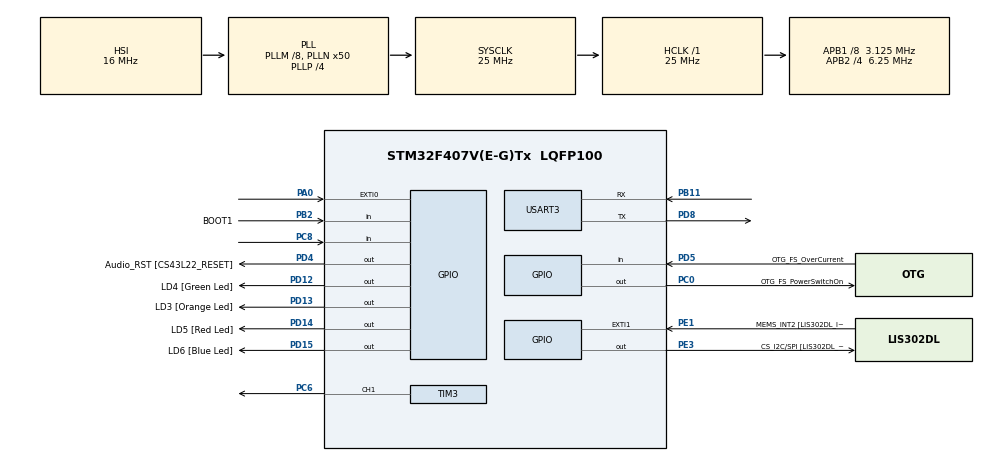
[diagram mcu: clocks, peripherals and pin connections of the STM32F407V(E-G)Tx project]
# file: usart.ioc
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Mcu.Family=STM32F4
Mcu.Name=STM32F407V(E-G)Tx
Mcu.Package=LQFP100
NVIC.EXTI0_IRQn=true\:0\:0\:false\:false\:true\:true
NVIC.PriorityGroup=NVIC_PRIORITYGROUP_0
NVIC.TIM3_IRQn=true\:0\:0\:false\:false\:true\:true
PA0-WKUP.Signal=GPXTI0
PA10.GPIO_Label=OTG_FS_ID
PA10.GPIO_Mode=GPIO_MODE_AF_PP
PA10.GPIO_PuPd=GPIO_NOPULL
PA10.GPIO_Speed=GPIO_SPEED_FREQ_LOW
PA10.Signal=USB_OTG_FS_ID
PA11.GPIO_Label=OTG_FS_DM
PA11.GPIO_Mode=GPIO_MODE_AF_PP
PA11.GPIO_PuPd=GPIO_NOPULL
PA11.GPIO_Speed=GPIO_SPEED_FREQ_LOW
PA11.Signal=USB_OTG_FS_DM
PA12.GPIO_Label=OTG_FS_DP
PA12.GPIO_Mode=GPIO_MODE_AF_PP
PA12.GPIO_PuPd=GPIO_NOPULL
PA12.GPIO_Speed=GPIO_SPEED_FREQ_LOW
PA12.Signal=USB_OTG_FS_DP
PA13.GPIO_Label=SWDIO
PA13.Signal=SYS_JTMS-SWDIO
PA14.GPIO_Label=SWCLK
PA14.Signal=SYS_JTCK-SWCLK
PA4.GPIO_Label=I2S3_WS [CS43L22_LRCK]
PA4.GPIO_Mode=GPIO_MODE_AF_PP
PA4.GPIO_PuPd=GPIO_NOPULL
PA4.GPIO_Speed=GPIO_SPEED_FREQ_LOW
PA4.Signal=I2S3_WS
PA5.GPIO_Label=SPI1_SCK [LIS302DL_SCL/SPC]
PA5.GPIO_Mode=GPIO_MODE_AF_PP
PA5.GPIO_PuPd=GPIO_NOPULL
PA5.GPIO_Speed=GPIO_SPEED_FREQ_LOW
PA5.Signal=SPI1_SCK
PA6.GPIO_Label=SPI1_MISO [LIS302DL_SDO]
PA6.GPIO_Mode=GPIO_MODE_AF_PP
PA6.GPIO_PuPd=GPIO_NOPULL
PA6.GPIO_Speed=GPIO_SPEED_FREQ_LOW
PA6.Signal=SPI1_MISO
PA7.GPIO_Label=SPI1_MOSI [LIS302DL_SDA/SDI/SDO]
PA7.GPIO_Mode=GPIO_MODE_AF_PP
PA7.GPIO_PuPd=GPIO_NOPULL
PA7.GPIO_Speed=GPIO_SPEED_FREQ_LOW
PA7.Signal=SPI1_MOSI
PA9.GPIO_Label=VBUS_FS
PA9.GPIO_Mode=GPIO_MODE_INPUT
PA9.GPIO_PuPd=GPIO_NOPULL
PA9.Signal=USB_OTG_FS_VBUS
PB10.GPIO_Label=CLK_IN [MP45DT02_CLK]
PB10.GPIO_Mode=GPIO_MODE_AF_PP
PB10.GPIO_PuPd=GPIO_NOPULL
PB10.GPIO_Speed=GPIO_SPEED_FREQ_LOW
PB10.Signal=I2S2_CK
PB11.Mode=Asynchronous
PB11.Signal=USART3_RX
PB2.GPIO_Label=BOOT1
PB2.GPIO_Mode=GPIO_MODE_INPUT
PB2.GPIO_PuPd=GPIO_NOPULL
PB2.Signal=GPIO_Input
PB3.GPIO_Label=SWO
PB3.Signal=SYS_JTDO-SWO
PB6.GPIO_Label=Audio_SCL [CS43L22_SCL]
PB6.GPIO_Mode=GPIO_MODE_AF_OD
PB6.GPIO_PuPd=GPIO_NOPULL
PB6.GPIO_Speed=GPIO_SPEED_FREQ_LOW
PB6.Signal=I2C1_SCL
PB9.GPIO_Label=Audio_SDA [CS43L22_SDA]
PB9.GPIO_Mode=GPIO_MODE_AF_OD
PB9.GPIO_PuPd=GPIO_NOPULL
PB9.GPIO_Speed=GPIO_SPEED_FREQ_LOW
PB9.Signal=I2C1_SDA
PC0.GPIO_Label=OTG_FS_PowerSwitchOn
PC0.GPIO_PuPd=GPIO_NOPULL
PC0.GPIO_Speed=GPIO_SPEED_FREQ_LOW
PC0.PinState=GPIO_PIN_SET
PC0.Signal=GPIO_Output
PC10.GPIO_Label=I2S3_SCK [CS43L22_SCLK]
PC10.GPIO_Mode=GPIO_MODE_AF_PP
PC10.GPIO_PuPd=GPIO_NOPULL
PC10.GPIO_Speed=GPIO_SPEED_FREQ_LOW
PC10.Signal=I2S3_CK
PC12.GPIO_Label=I2S3_SD [CS43L22_SDIN]
PC12.GPIO_Mode=GPIO_MODE_AF_PP
PC12.GPIO_PuPd=GPIO_NOPULL
PC12.GPIO_Speed=GPIO_SPEED_FREQ_LOW
PC12.Signal=I2S3_SD
PC14-OSC32_IN.GPIO_Label=PC14-OSC32_IN
PC14-OSC32_IN.Signal=RCC_OSC32_IN
PC15-OSC32_OUT.GPIO_Label=PC15-OSC32_OUT
PC15-OSC32_OUT.Signal=RCC_OSC32_OUT
PC3.GPIO_Label=PDM_OUT [MP45DT02_DOUT]
PC3.GPIO_Mode=GPIO_MODE_AF_PP
PC3.GPIO_PuPd=GPIO_NOPULL
PC3.GPIO_Speed=GPIO_SPEED_FREQ_LOW
PC3.Signal=I2S2_SD
PC6.Signal=S_TIM3_CH1
PC7.GPIO_Label=I2S3_MCK [CS43L22_MCLK]
PC7.GPIO_Mode=GPIO_MODE_AF_PP
PC7.GPIO_PuPd=GPIO_NOPULL
PC7.GPIO_Speed=GPIO_SPEED_FREQ_LOW
PC7.Signal=I2S3_MCK
PC8.Signal=GPIO_Input
PD12.GPIO_Label=LD4 [Green Led]
PD12.GPIO_PuPd=GPIO_NOPULL
PD12.GPIO_Speed=GPIO_SPEED_FREQ_LOW
PD12.Signal=GPIO_Output
PD13.GPIO_Label=LD3 [Orange Led]
PD13.GPIO_PuPd=GPIO_NOPULL
PD13.GPIO_Speed=GPIO_SPEED_FREQ_LOW
PD13.Signal=GPIO_Output
PD14.GPIO_Label=LD5 [Red Led]
PD14.GPIO_PuPd=GPIO_NOPULL
PD14.GPIO_Speed=GPIO_SPEED_FREQ_LOW
PD14.Signal=GPIO_Output
PD15.GPIO_Label=LD6 [Blue Led]
PD15.GPIO_PuPd=GPIO_NOPULL
PD15.GPIO_Speed=GPIO_SPEED_FREQ_LOW
PD15.Signal=GPIO_Output
PD4.GPIO_Label=Audio_RST [CS43L22_RESET]
PD4.GPIO_PuPd=GPIO_NOPULL
PD4.GPIO_Speed=GPIO_SPEED_FREQ_LOW
PD4.Signal=GPIO_Output
PD5.GPIO_Label=OTG_FS_OverCurrent
PD5.GPIO_Mode=GPIO_MODE_INPUT
PD5.GPIO_PuPd=GPIO_NOPULL
PD5.Signal=GPIO_Input
PD8.Mode=Asynchronous
PD8.Signal=USART3_TX
PE1.GPIO_Label=MEMS_INT2 [LIS302DL_INT2]
PE1.GPIO_ModeDefaultEXTI=GPIO_MODE_EVT_RISING
PE1.GPIO_PuPd=GPIO_NOPULL
PE1.Signal=GPXTI1
PE3.GPIO_Label=CS_I2C/SPI [LIS302DL_CS_I2C/SPI]
PE3.GPIO_PuPd=GPIO_NOPULL
PE3.GPIO_Speed=GPIO_SPEED_FREQ_LOW
PE3.Signal=GPIO_Output
PH0-OSC_IN.GPIO_Label=PH0-OSC_IN
PH0-OSC_IN.Signal=RCC_OSC_IN
PH1-OSC_OUT.GPIO_Label=PH1-OSC_OUT
PH1-OSC_OUT.Signal=RCC_OSC_OUT
ProjectManager.HeapSize=0x200
ProjectManager.StackSize=0x400
ProjectManager.TargetToolchain=SW4STM32
RCC.48MHZClocksFreq_Value=14285714.285714285
RCC.AHBFreq_Value=25000000
RCC.APB1CLKDivider=RCC_HCLK_DIV8
RCC.APB1Freq_Value=3125000
RCC.APB1TimFreq_Value=6250000
RCC.APB2CLKDivider=RCC_HCLK_DIV4
RCC.APB2Freq_Value=6250000
RCC.APB2TimFreq_Value=12500000
RCC.CortexFreq_Value=25000000
RCC.HCLKFreq_Value=25000000
RCC.HSE_VALUE=8000000
RCC.HSI_VALUE=16000000
RCC.LSE_VALUE=32768
RCC.PLLM=8
RCC.PLLN=50
RCC.PLLP=RCC_PLLP_DIV4
RCC.PLLQ=7
RCC.SYSCLKFreq_VALUE=25000000
RCC.SYSCLKSource=RCC_SYSCLKSOURCE_PLLCLK
RCC.VCOOutputFreq_Value=100000000
SH.S_TIM3_CH1.0=TIM3_CH1,PWM Generation1 CH1
TIM3.Channel-PWM\ Generation1\ CH1=TIM_CHANNEL_1
TIM3.Period=499
TIM3.Prescaler=4999
TIM3.Pulse-PWM\ Generation1\ CH1=50
USART3.VirtualMode=VM_ASYNC
VP_TIM3_VS_ClockSourceINT.Mode=Internal
board=STM32F4DISCOVERY

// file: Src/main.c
/**
  ******************************************************************************
  * @file           : main.c
  * @brief          : Main program body
  ******************************************************************************
  ** This notice applies to any and all portions of this file
  * that are not between comment pairs USER CODE BEGIN and
  * USER CODE END. Other portions of this file, whether
  * inserted by the user or by software development tools
  * are owned by their respective copyright owners.
  *
  * COPYRIGHT(c) 2018 STMicroelectronics
  *
  * Redistribution and use in source and binary forms, with or without modification,
  * are permitted provided that the following conditions are met:
  *   1. Redistributions of source code must retain the above copyright notice,
  *      this list of conditions and the following disclaimer.
  *   2. Redistributions in binary form must reproduce the above copyright notice,
  *      this list of conditions and the following disclaimer in the documentation
  *      and/or other materials provided with the distribution.
  *   3. Neither the name of STMicroelectronics nor the names of its contributors
  *      may be used to endorse or promote products derived from this software
  *      without specific prior written permission.
  *
  * THIS SOFTWARE IS PROVIDED BY THE COPYRIGHT HOLDERS AND CONTRIBUTORS "AS IS"
  * AND ANY EXPRESS OR IMPLIED WARRANTIES, INCLUDING, BUT NOT LIMITED TO, THE
  * IMPLIED WARRANTIES OF MERCHANTABILITY AND FITNESS FOR A PARTICULAR PURPOSE ARE
  * DISCLAIMED. IN NO EVENT SHALL THE COPYRIGHT HOLDER OR CONTRIBUTORS BE LIABLE
  * FOR ANY DIRECT, INDIRECT, INCIDENTAL, SPECIAL, EXEMPLARY, OR CONSEQUENTIAL
  * DAMAGES (INCLUDING, BUT NOT LIMITED TO, PROCUREMENT OF SUBSTITUTE GOODS OR
  * SERVICES; LOSS OF USE, DATA, OR PROFITS; OR BUSINESS INTERRUPTION) HOWEVER
  * CAUSED AND ON ANY THEORY OF LIABILITY, WHETHER IN CONTRACT, STRICT LIABILITY,
  * OR TORT (INCLUDING NEGLIGENCE OR OTHERWISE) ARISING IN ANY WAY OUT OF THE USE
  * OF THIS SOFTWARE, EVEN IF ADVISED OF THE POSSIBILITY OF SUCH DAMAGE.
  *
  ******************************************************************************
  */
#include "main.h"
#include "stm32f4xx_hal.h"

TIM_HandleTypeDef htim3;

UART_HandleTypeDef huart3;

/* USER CODE BEGIN PV */
/* Private variables ---------------------------------------------------------*/
enum MESSAGE {
	DETECTED = 0x00,
	OPEN = 0x01,
	CLOSE = 0x02
};

int duration;
uint8_t buffer[100] = "";
int last_send = 0;
int status=0;

int change_door_status = 0;
uint8_t door_status = 0x02;
int door_button_debounce = 0;

/* USER CODE END PV */

void SystemClock_Config(void);
static void MX_GPIO_Init(void);
static void MX_TIM3_Init(void);
static void MX_USART3_UART_Init(void);
void HAL_TIM_MspPostInit(TIM_HandleTypeDef *htim);

/* USER CODE BEGIN PFP */
/* Private function prototypes -----------------------------------------------*/

/* USER CODE END PFP */

/* USER CODE BEGIN 0 */
void HAL_GPIO_EXTI_Callback(uint16_t GPIO_Pin) {

	if (HAL_GetTick() < door_button_debounce + 1000) return;
	door_button_debounce = HAL_GetTick();

	change_door_status = 1;
}

void HAL_TIM_IC_CaptureCallback(TIM_HandleTypeDef *htim) {
//	if (htim->Instance == TIM2) {
//		__HAL_TIM_SetCounter(&htim2, 0);
//	}
}

void HAL_TIM_PWM_PulseFinishedCallback(TIM_HandleTypeDef *htim) {
	if (htim->Instance == TIM3) {
//		duration = 0;

		if (status == 0) {
//			__HAL_TIM_SetCounter(&htim2, 0);
			status = 1;

			duration = 0;
			while(HAL_GPIO_ReadPin(GPIOC, GPIO_PIN_8) == GPIO_PIN_RESET && duration < 100000) {
				++duration;
			}
			while(HAL_GPIO_ReadPin(GPIOC, GPIO_PIN_8) == GPIO_PIN_SET && duration < 100000) {
				++duration;
			}

			status = 2;
		}
	}
}

void update_light(void) {
	HAL_GPIO_WritePin(GPIOD, GPIO_PIN_15, (door_status == OPEN ? GPIO_PIN_SET : GPIO_PIN_RESET));
}
/* USER CODE END 0 */

int main(void)
{

  /* MCU Configuration----------------------------------------------------------*/

  /* Reset of all peripherals, Initializes the Flash interface and the Systick. */
  HAL_Init();

  /* Configure the system clock */
  SystemClock_Config();

  /* Initialize all configured peripherals */
  MX_GPIO_Init();
  MX_TIM3_Init();
  MX_USART3_UART_Init();
  /* USER CODE BEGIN 2 */

//  HAL_TIM_Base_Start(&htim2);
  HAL_TIM_Base_Start(&htim3);

//  HAL_TIM_IC_Start_IT(&htim2, TIM_CHANNEL_1);
  HAL_TIM_PWM_Start_IT(&htim3, TIM_CHANNEL_1);
  /* USER CODE END 2 */

  /* Infinite loop */
  while (1)
  {

  /* USER CODE BEGIN 3 */

	  if (change_door_status) {
		  change_door_status = 0;

		  switch (door_status) {
		  case OPEN: door_status = CLOSE; break;
		  case CLOSE: door_status = OPEN; break;
		  }

		  HAL_UART_Transmit(&huart3, &door_status, 1, 100);
	  }

	  if (status == 2) {
		if(duration < 5000) {
			if (HAL_GetTick() > last_send + 1) {
				last_send = HAL_GetTick();
				buffer[0] = DETECTED;
				HAL_UART_Transmit(&huart3, buffer, 1, 100);
				HAL_GPIO_WritePin(GPIOD, GPIO_PIN_14, GPIO_PIN_SET);
			}
		} else {
			HAL_GPIO_WritePin(GPIOD, GPIO_PIN_14, GPIO_PIN_RESET);
		}

		status = 0;
	  }

	  uint8_t command = 0;
	  if(HAL_UART_Receive(&huart3, &command, 1, 100) == HAL_OK) {
		  HAL_GPIO_TogglePin(GPIOD, GPIO_PIN_13);
		  switch(command) {
		  case OPEN: case CLOSE: // open

			  door_status = command;
			  update_light();
			  break;
		  default:
			  break;
		  }
	  }
	  HAL_Delay(1);
  }
  /* USER CODE END 3 */

}

void SystemClock_Config(void)
{

  RCC_OscInitTypeDef RCC_OscInitStruct;
  RCC_ClkInitTypeDef RCC_ClkInitStruct;

    /**Configure the main internal regulator output voltage
    */
  __HAL_RCC_PWR_CLK_ENABLE();

  __HAL_PWR_VOLTAGESCALING_CONFIG(PWR_REGULATOR_VOLTAGE_SCALE1);

    /**Initializes the CPU, AHB and APB busses clocks
    */
  RCC_OscInitStruct.OscillatorType = RCC_OSCILLATORTYPE_HSI;
  RCC_OscInitStruct.HSIState = RCC_HSI_ON;
  RCC_OscInitStruct.HSICalibrationValue = 16;
  RCC_OscInitStruct.PLL.PLLState = RCC_PLL_ON;
  RCC_OscInitStruct.PLL.PLLSource = RCC_PLLSOURCE_HSI;
  RCC_OscInitStruct.PLL.PLLM = 8;
  RCC_OscInitStruct.PLL.PLLN = 50;
  RCC_OscInitStruct.PLL.PLLP = RCC_PLLP_DIV4;
  RCC_OscInitStruct.PLL.PLLQ = 7;
  if (HAL_RCC_OscConfig(&RCC_OscInitStruct) != HAL_OK)
  {
    _Error_Handler(__FILE__, __LINE__);
  }

    /**Initializes the CPU, AHB and APB busses clocks
    */
  RCC_ClkInitStruct.ClockType = RCC_CLOCKTYPE_HCLK|RCC_CLOCKTYPE_SYSCLK
                              |RCC_CLOCKTYPE_PCLK1|RCC_CLOCKTYPE_PCLK2;
  RCC_ClkInitStruct.SYSCLKSource = RCC_SYSCLKSOURCE_PLLCLK;
  RCC_ClkInitStruct.AHBCLKDivider = RCC_SYSCLK_DIV1;
  RCC_ClkInitStruct.APB1CLKDivider = RCC_HCLK_DIV8;
  RCC_ClkInitStruct.APB2CLKDivider = RCC_HCLK_DIV4;

  if (HAL_RCC_ClockConfig(&RCC_ClkInitStruct, FLASH_LATENCY_0) != HAL_OK)
  {
    _Error_Handler(__FILE__, __LINE__);
  }

    /**Configure the Systick interrupt time
    */
  HAL_SYSTICK_Config(HAL_RCC_GetHCLKFreq()/1000);

    /**Configure the Systick
    */
  HAL_SYSTICK_CLKSourceConfig(SYSTICK_CLKSOURCE_HCLK);

  /* SysTick_IRQn interrupt configuration */
  HAL_NVIC_SetPriority(SysTick_IRQn, 0, 0);
}

/* TIM3 init function */
static void MX_TIM3_Init(void)
{

  TIM_ClockConfigTypeDef sClockSourceConfig;
  TIM_MasterConfigTypeDef sMasterConfig;
  TIM_OC_InitTypeDef sConfigOC;

  htim3.Instance = TIM3;
  htim3.Init.Prescaler = 4999;
  htim3.Init.CounterMode = TIM_COUNTERMODE_UP;
  htim3.Init.Period = 499;
  htim3.Init.ClockDivision = TIM_CLOCKDIVISION_DIV1;
  if (HAL_TIM_Base_Init(&htim3) != HAL_OK)
  {
    _Error_Handler(__FILE__, __LINE__);
  }

  sClockSourceConfig.ClockSource = TIM_CLOCKSOURCE_INTERNAL;
  if (HAL_TIM_ConfigClockSource(&htim3, &sClockSourceConfig) != HAL_OK)
  {
    _Error_Handler(__FILE__, __LINE__);
  }

  if (HAL_TIM_PWM_Init(&htim3) != HAL_OK)
  {
    _Error_Handler(__FILE__, __LINE__);
  }

  sMasterConfig.MasterOutputTrigger = TIM_TRGO_RESET;
  sMasterConfig.MasterSlaveMode = TIM_MASTERSLAVEMODE_DISABLE;
  if (HAL_TIMEx_MasterConfigSynchronization(&htim3, &sMasterConfig) != HAL_OK)
  {
    _Error_Handler(__FILE__, __LINE__);
  }

  sConfigOC.OCMode = TIM_OCMODE_PWM1;
  sConfigOC.Pulse = 50;
  sConfigOC.OCPolarity = TIM_OCPOLARITY_HIGH;
  sConfigOC.OCFastMode = TIM_OCFAST_DISABLE;
  if (HAL_TIM_PWM_ConfigChannel(&htim3, &sConfigOC, TIM_CHANNEL_1) != HAL_OK)
  {
    _Error_Handler(__FILE__, __LINE__);
  }

  HAL_TIM_MspPostInit(&htim3);

}

/* USART3 init function */
static void MX_USART3_UART_Init(void)
{

  huart3.Instance = USART3;
  huart3.Init.BaudRate = 115200;
  huart3.Init.WordLength = UART_WORDLENGTH_8B;
  huart3.Init.StopBits = UART_STOPBITS_1;
  huart3.Init.Parity = UART_PARITY_NONE;
  huart3.Init.Mode = UART_MODE_TX_RX;
  huart3.Init.HwFlowCtl = UART_HWCONTROL_NONE;
  huart3.Init.OverSampling = UART_OVERSAMPLING_16;
  if (HAL_UART_Init(&huart3) != HAL_OK)
  {
    _Error_Handler(__FILE__, __LINE__);
  }

}

/** Configure pins as
        * Analog
        * Input
        * Output
        * EVENT_OUT
        * EXTI
     PC3   ------> I2S2_SD
     PA4   ------> I2S3_WS
     PA5   ------> SPI1_SCK
     PA6   ------> SPI1_MISO
     PA7   ------> SPI1_MOSI
     PB10   ------> I2S2_CK
     PC7   ------> I2S3_MCK
     PA9   ------> USB_OTG_FS_VBUS
     PA10   ------> USB_OTG_FS_ID
     PA11   ------> USB_OTG_FS_DM
     PA12   ------> USB_OTG_FS_DP
     PC10   ------> I2S3_CK
     PC12   ------> I2S3_SD
     PB6   ------> I2C1_SCL
     PB9   ------> I2C1_SDA
*/
static void MX_GPIO_Init(void)
{

  GPIO_InitTypeDef GPIO_InitStruct;

  /* GPIO Ports Clock Enable */
  __HAL_RCC_GPIOE_CLK_ENABLE();
  __HAL_RCC_GPIOC_CLK_ENABLE();
  __HAL_RCC_GPIOH_CLK_ENABLE();
  __HAL_RCC_GPIOA_CLK_ENABLE();
  __HAL_RCC_GPIOB_CLK_ENABLE();
  __HAL_RCC_GPIOD_CLK_ENABLE();

  /*Configure GPIO pin Output Level */
  HAL_GPIO_WritePin(CS_I2C_SPI_GPIO_Port, CS_I2C_SPI_Pin, GPIO_PIN_RESET);

  /*Configure GPIO pin Output Level */
  HAL_GPIO_WritePin(OTG_FS_PowerSwitchOn_GPIO_Port, OTG_FS_PowerSwitchOn_Pin, GPIO_PIN_SET);

  /*Configure GPIO pin Output Level */
  HAL_GPIO_WritePin(GPIOD, LD4_Pin|LD3_Pin|LD5_Pin|LD6_Pin
                          |Audio_RST_Pin, GPIO_PIN_RESET);

  /*Configure GPIO pin : CS_I2C_SPI_Pin */
  GPIO_InitStruct.Pin = CS_I2C_SPI_Pin;
  GPIO_InitStruct.Mode = GPIO_MODE_OUTPUT_PP;
  GPIO_InitStruct.Pull = GPIO_NOPULL;
  GPIO_InitStruct.Speed = GPIO_SPEED_FREQ_LOW;
  HAL_GPIO_Init(CS_I2C_SPI_GPIO_Port, &GPIO_InitStruct);

  /*Configure GPIO pin : OTG_FS_PowerSwitchOn_Pin */
  GPIO_InitStruct.Pin = OTG_FS_PowerSwitchOn_Pin;
  GPIO_InitStruct.Mode = GPIO_MODE_OUTPUT_PP;
  GPIO_InitStruct.Pull = GPIO_NOPULL;
  GPIO_InitStruct.Speed = GPIO_SPEED_FREQ_LOW;
  HAL_GPIO_Init(OTG_FS_PowerSwitchOn_GPIO_Port, &GPIO_InitStruct);

  /*Configure GPIO pin : PDM_OUT_Pin */
  GPIO_InitStruct.Pin = PDM_OUT_Pin;
  GPIO_InitStruct.Mode = GPIO_MODE_AF_PP;
  GPIO_InitStruct.Pull = GPIO_NOPULL;
  GPIO_InitStruct.Speed = GPIO_SPEED_FREQ_LOW;
  GPIO_InitStruct.Alternate = GPIO_AF5_SPI2;
  HAL_GPIO_Init(PDM_OUT_GPIO_Port, &GPIO_InitStruct);

  /*Configure GPIO pin : PA0 */
  GPIO_InitStruct.Pin = GPIO_PIN_0;
  GPIO_InitStruct.Mode = GPIO_MODE_IT_RISING;
  GPIO_InitStruct.Pull = GPIO_NOPULL;
  HAL_GPIO_Init(GPIOA, &GPIO_InitStruct);

  /*Configure GPIO pin : I2S3_WS_Pin */
  GPIO_InitStruct.Pin = I2S3_WS_Pin;
  GPIO_InitStruct.Mode = GPIO_MODE_AF_PP;
  GPIO_InitStruct.Pull = GPIO_NOPULL;
  GPIO_InitStruct.Speed = GPIO_SPEED_FREQ_LOW;
  GPIO_InitStruct.Alternate = GPIO_AF6_SPI3;
  HAL_GPIO_Init(I2S3_WS_GPIO_Port, &GPIO_InitStruct);

  /*Configure GPIO pins : SPI1_SCK_Pin SPI1_MISO_Pin SPI1_MOSI_Pin */
  GPIO_InitStruct.Pin = SPI1_SCK_Pin|SPI1_MISO_Pin|SPI1_MOSI_Pin;
  GPIO_InitStruct.Mode = GPIO_MODE_AF_PP;
  GPIO_InitStruct.Pull = GPIO_NOPULL;
  GPIO_InitStruct.Speed = GPIO_SPEED_FREQ_LOW;
  GPIO_InitStruct.Alternate = GPIO_AF5_SPI1;
  HAL_GPIO_Init(GPIOA, &GPIO_InitStruct);

  /*Configure GPIO pin : BOOT1_Pin */
  GPIO_InitStruct.Pin = BOOT1_Pin;
  GPIO_InitStruct.Mode = GPIO_MODE_INPUT;
  GPIO_InitStruct.Pull = GPIO_NOPULL;
  HAL_GPIO_Init(BOOT1_GPIO_Port, &GPIO_InitStruct);

  /*Configure GPIO pin : CLK_IN_Pin */
  GPIO_InitStruct.Pin = CLK_IN_Pin;
  GPIO_InitStruct.Mode = GPIO_MODE_AF_PP;
  GPIO_InitStruct.Pull = GPIO_NOPULL;
  GPIO_InitStruct.Speed = GPIO_SPEED_FREQ_LOW;
  GPIO_InitStruct.Alternate = GPIO_AF5_SPI2;
  HAL_GPIO_Init(CLK_IN_GPIO_Port, &GPIO_InitStruct);

  /*Configure GPIO pins : LD4_Pin LD3_Pin LD5_Pin LD6_Pin
                           Audio_RST_Pin */
  GPIO_InitStruct.Pin = LD4_Pin|LD3_Pin|LD5_Pin|LD6_Pin
                          |Audio_RST_Pin;
  GPIO_InitStruct.Mode = GPIO_MODE_OUTPUT_PP;
  GPIO_InitStruct.Pull = GPIO_NOPULL;
  GPIO_InitStruct.Speed = GPIO_SPEED_FREQ_LOW;
  HAL_GPIO_Init(GPIOD, &GPIO_InitStruct);

  /*Configure GPIO pins : I2S3_MCK_Pin I2S3_SCK_Pin I2S3_SD_Pin */
  GPIO_InitStruct.Pin = I2S3_MCK_Pin|I2S3_SCK_Pin|I2S3_SD_Pin;
  GPIO_InitStruct.Mode = GPIO_MODE_AF_PP;
  GPIO_InitStruct.Pull = GPIO_NOPULL;
  GPIO_InitStruct.Speed = GPIO_SPEED_FREQ_LOW;
  GPIO_InitStruct.Alternate = GPIO_AF6_SPI3;
  HAL_GPIO_Init(GPIOC, &GPIO_InitStruct);

  /*Configure GPIO pin : PC8 */
  GPIO_InitStruct.Pin = GPIO_PIN_8;
  GPIO_InitStruct.Mode = GPIO_MODE_INPUT;
  GPIO_InitStruct.Pull = GPIO_NOPULL;
  HAL_GPIO_Init(GPIOC, &GPIO_InitStruct);

  /*Configure GPIO pin : VBUS_FS_Pin */
  GPIO_InitStruct.Pin = VBUS_FS_Pin;
  GPIO_InitStruct.Mode = GPIO_MODE_INPUT;
  GPIO_InitStruct.Pull = GPIO_NOPULL;
  HAL_GPIO_Init(VBUS_FS_GPIO_Port, &GPIO_InitStruct);

  /*Configure GPIO pins : OTG_FS_ID_Pin OTG_FS_DM_Pin OTG_FS_DP_Pin */
  GPIO_InitStruct.Pin = OTG_FS_ID_Pin|OTG_FS_DM_Pin|OTG_FS_DP_Pin;
  GPIO_InitStruct.Mode = GPIO_MODE_AF_PP;
  GPIO_InitStruct.Pull = GPIO_NOPULL;
  GPIO_InitStruct.Speed = GPIO_SPEED_FREQ_LOW;
  GPIO_InitStruct.Alternate = GPIO_AF10_OTG_FS;
  HAL_GPIO_Init(GPIOA, &GPIO_InitStruct);

  /*Configure GPIO pin : OTG_FS_OverCurrent_Pin */
  GPIO_InitStruct.Pin = OTG_FS_OverCurrent_Pin;
  GPIO_InitStruct.Mode = GPIO_MODE_INPUT;
  GPIO_InitStruct.Pull = GPIO_NOPULL;
  HAL_GPIO_Init(OTG_FS_OverCurrent_GPIO_Port, &GPIO_InitStruct);

  /*Configure GPIO pins : Audio_SCL_Pin Audio_SDA_Pin */
  GPIO_InitStruct.Pin = Audio_SCL_Pin|Audio_SDA_Pin;
  GPIO_InitStruct.Mode = GPIO_MODE_AF_OD;
  GPIO_InitStruct.Pull = GPIO_PULLUP;
  GPIO_InitStruct.Speed = GPIO_SPEED_FREQ_LOW;
  GPIO_InitStruct.Alternate = GPIO_AF4_I2C1;
  HAL_GPIO_Init(GPIOB, &GPIO_InitStruct);

  /*Configure GPIO pin : MEMS_INT2_Pin */
  GPIO_InitStruct.Pin = MEMS_INT2_Pin;
  GPIO_InitStruct.Mode = GPIO_MODE_EVT_RISING;
  GPIO_InitStruct.Pull = GPIO_NOPULL;
  HAL_GPIO_Init(MEMS_INT2_GPIO_Port, &GPIO_InitStruct);

  /* EXTI interrupt init*/
  HAL_NVIC_SetPriority(EXTI0_IRQn, 0, 0);
  HAL_NVIC_EnableIRQ(EXTI0_IRQn);

}

void _Error_Handler(char *file, int line)
{
  while(1)
  {
  }
}

/************************ (C) COPYRIGHT STMicroelectronics *****END OF FILE****/
